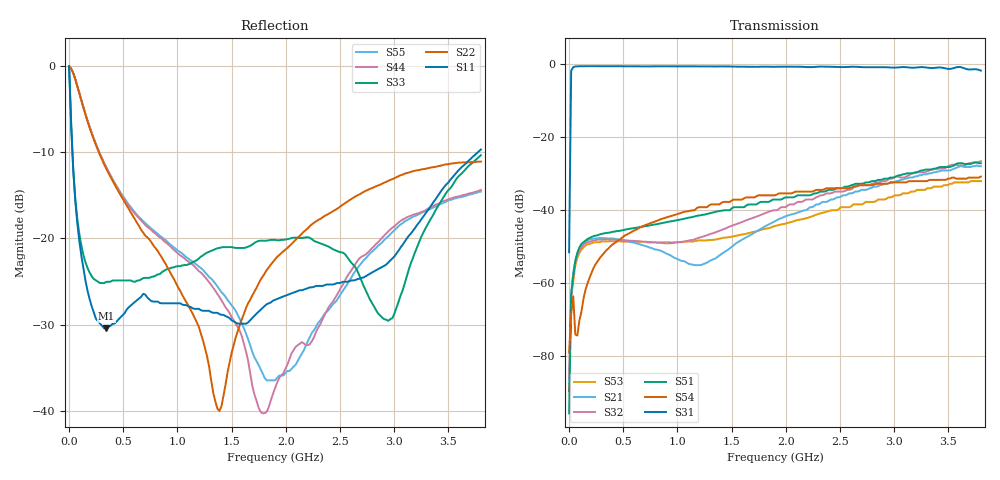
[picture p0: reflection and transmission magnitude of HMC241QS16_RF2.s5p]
! Hittite Microwave Corporation
! 20 Alpha Road
! Chelmsford, MA 01824
! Tel: 978-250-3343
! Fax: 978-250-3373
! Device: HMC241QS16, DC-3.5 GHz GaAs MMIC SP4T Non-Reflective Switch in 16 lead QSOP package
! Misc: Data was de-embedded to package pins.
!  Port 1 = RFC
!  Port 2 = RF1
!  Port 3 = RF2
!  Port 4 = RF3
!  Port 5 = RF4
!  Vdd  = + 5 V
!  RF2 selected, Vctl= 0/+5 V
!  Data reformated to new Touchstone file format - Tue Jan 09 10:07:35 2007
# MHz S DB R 50
! 5 Port Network Data
! freq  dbS11  angS11  dbS12  angS12  dbS13  angS13  dbS14  angS14
!  dbS15  angS15
!  dbS21  angS21  dbS22  angS22  dbS23  angS23
!  dbS24  angS24  dbS25  angS25
!  dbS31  angS31  dbS32  angS32
!  dbS33  angS33  dbS34  angS34  dbS35  angS35
!  dbS41  angS41
!  dbS42  angS42  dbS43  angS43  dbS44  angS44  dbS45  angS45
!  dbS51  angS51  dbS52  angS52  dbS53  angS53  dbS54  angS54
!  dbS55  angS55
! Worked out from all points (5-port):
!   201 points, 30 kHz to 3.8 GHz, reference 50 ohm
!   strongest paths, dB at 30 kHz, 950 MHz, 1.9 GHz, 2.85 GHz, 3.8 GHz:
!     S31: -51.5, -0.6, -0.7, -0.8, -1.8
!     S54: -79.0, -41.5, -35.9, -32.8, -30.8
!     S51: -95.6, -43.0, -37.1, -31.7, -27.1
!     S32: -85.8, -49.0, -40.0, -32.4, -26.6
!     S21: -87.5, -52.6, -43.0, -33.5, -28.0
!     S53: -89.6, -48.9, -44.3, -37.1, -32.0
!   lowest |S11| = -30.5 dB at 342 MHz (marker M1), VSWR 1.06, Z = 53 - j0.701 ohm
!   |S11| at or under -10 dB: 30.62 MHz to 3.772 GHz (3.741 GHz wide, 197 % of centre)
